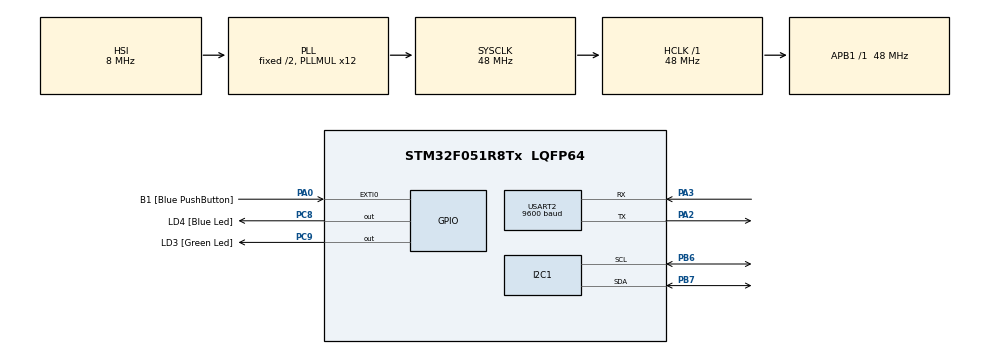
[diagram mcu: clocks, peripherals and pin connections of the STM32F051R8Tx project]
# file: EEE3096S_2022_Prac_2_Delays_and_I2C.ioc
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Dma.Request0=USART2_TX
Dma.USART2_TX.0.Direction=DMA_MEMORY_TO_PERIPH
Dma.USART2_TX.0.Instance=DMA1_Channel4
Dma.USART2_TX.0.MemDataAlignment=DMA_MDATAALIGN_BYTE
Dma.USART2_TX.0.MemInc=DMA_MINC_ENABLE
Dma.USART2_TX.0.Mode=DMA_NORMAL
Dma.USART2_TX.0.PeriphDataAlignment=DMA_PDATAALIGN_BYTE
Dma.USART2_TX.0.PeriphInc=DMA_PINC_DISABLE
Dma.USART2_TX.0.Priority=DMA_PRIORITY_LOW
Mcu.Family=STM32F0
Mcu.Name=STM32F051R8Tx
Mcu.Package=LQFP64
NVIC.DMA1_Channel4_5_IRQn=true\:0\:0\:false\:false\:true\:false\:true\:true
NVIC.USART2_IRQn=true\:0\:0\:false\:false\:true\:true\:true\:true
PA0.GPIO_Label=B1 [Blue PushButton]
PA0.GPIO_ModeDefaultEXTI=GPIO_MODE_EVT_RISING
PA0.Signal=GPXTI0
PA13.GPIO_Label=SWDIO
PA13.Mode=Serial_Wire
PA13.Signal=SYS_SWDIO
PA14.GPIO_Label=SWCLK
PA14.Mode=Serial_Wire
PA14.Signal=SYS_SWCLK
PA2.Mode=Asynchronous
PA2.Signal=USART2_TX
PA3.Mode=Asynchronous
PA3.Signal=USART2_RX
PB6.Mode=I2C
PB6.Signal=I2C1_SCL
PB7.Mode=I2C
PB7.Signal=I2C1_SDA
PC8.GPIO_Label=LD4 [Blue Led]
PC8.Signal=GPIO_Output
PC9.GPIO_Label=LD3 [Green Led]
PC9.Signal=GPIO_Output
PF0-OSC_IN.Mode=HSE-External-Oscillator
PF0-OSC_IN.Signal=RCC_OSC_IN
PF1-OSC_OUT.Mode=HSE-External-Oscillator
PF1-OSC_OUT.Signal=RCC_OSC_OUT
ProjectManager.HeapSize=0x200
ProjectManager.StackSize=0x400
ProjectManager.TargetToolchain=STM32CubeIDE
RCC.AHBFreq_Value=48000000
RCC.APB1Freq_Value=48000000
RCC.APB1TimFreq_Value=48000000
RCC.HCLKFreq_Value=48000000
RCC.PLLMUL=RCC_PLL_MUL12
RCC.SYSCLKFreq_VALUE=48000000
RCC.SYSCLKSource=RCC_SYSCLKSOURCE_PLLCLK
USART2.BaudRate=9600
USART2.VirtualMode-Asynchronous=VM_ASYNC
board=STM32F0DISCOVERY

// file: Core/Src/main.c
/* USER CODE BEGIN Header */
/**
*************************************
Info:		STM32 I2C with DS3231 HAL
Author:		Amaan Vally
*************************************
In this practical you will learn to use I2C on the STM32 using the HAL. Here, we will
be interfacing with a DS3231 RTC. We also create functions to convert the data between Binary
Coded Decimal (BCD) and decimal.

Code is also provided to send data from the STM32 to other devices using UART protocol
by using HAL. You will need Putty or a Python script to read from the serial port on your PC.

UART Connections are as follows: red->5V black->GND white(TX)->PA2 green(RX;unused)->PA3.
Open device manager and go to Ports. Plug in the USB connector with the STM powered on. Check the port number (COMx).
Open up Putty and create a new Serial session on that COMx with baud rate of 9600.

https://www.youtube.com/watch?v=EEsI9MxndbU&list=PLfIJKC1ud8ghc4eFhI84z_3p3Ap2MCMV-&index=4

RTC Connections: (+)->5V (-)->GND D->PB7 (I2C1_SDA) C->PB6 (I2C1_SCL)
  ******************************************************************************
  */
/* USER CODE END Header */
#include "main.h"

/* USER CODE BEGIN Includes */
#include "stdio.h"
#include <stdint.h>
#include <string.h>
/* USER CODE END Includes */

/* USER CODE BEGIN PTD */
typedef struct {
	uint8_t seconds;
	uint8_t minutes;
	uint8_t hour;
	uint8_t dayofweek;
	uint8_t dayofmonth;
	uint8_t month;
	uint8_t year;
} TIME;

/* USER CODE END PTD */

/* USER CODE BEGIN PD */
//TO DO:
//TASK 2
//Give DELAY1 and DELAY2 sensible values
#define DELAY1 502
#define DELAY2 2048

//TO DO:
//TASK 4
//Define the RTC slave address
#define DS3231_ADDRESS 0x0

#define EPOCH_2022 1640988000
/* USER CODE END PD */

I2C_HandleTypeDef hi2c1;

UART_HandleTypeDef huart2;
DMA_HandleTypeDef hdma_usart2_tx;

/* USER CODE BEGIN PV */
char buffer[14];
uint8_t data [] = "Hello from STM32!\r\n";
TIME time;
/* USER CODE END PV */

void SystemClock_Config(void);
static void MX_GPIO_Init(void);
static void MX_I2C1_Init(void);
static void MX_DMA_Init(void);
static void MX_USART2_UART_Init(void);
/* USER CODE BEGIN PFP */
void HAL_UART_TxCpltCllback(UART_HandleTypeDef *huart);
void pause_sec(float x);

uint8_t decToBcd(int val);
int bcdToDec(uint8_t val);
void setTime (uint8_t sec, uint8_t min, uint8_t hour, uint8_t dow, uint8_t dom, uint8_t month, uint8_t year);
void getTime (void);
int epochFromTime(TIME time);

/* USER CODE END PFP */

int main(void)
{

  /* MCU Configuration--------------------------------------------------------*/

  /* Reset of all peripherals, Initializes the Flash interface and the Systick. */
  HAL_Init();

  /* Configure the system clock */
  SystemClock_Config();

  /* Initialize all configured peripherals */
  MX_GPIO_Init();
  MX_I2C1_Init();
  MX_DMA_Init();
  MX_USART2_UART_Init();
  /* USER CODE BEGIN 2 */

  //TO DO
  //TASK 6
  //YOUR CODE HERE
  // store initial time in the RTC to keep it running
  //setTime(00, 11, 6, 6, 24, 9, 22);
  /* USER CODE END 2 */

  /* Infinite loop */
  while (1)
  {
	 //TO DO:
	 //TASK 1
	 //First run this with nothing else in the loop and scope pin PC8 on an oscilloscope
	 pause_sec(1);
	 HAL_GPIO_TogglePin(GPIOC, GPIO_PIN_8);

	 //TO DO:
	 //TASK 6
	 getTime();

	 sprintf(buffer, "%d \r\n", time);
	 //This creates a string "55555555555555" with a pointer called buffer

	 //Transmit data via UART
	 //Blocking! fine for small buffers
	 if (HAL_UART_Transmit(&huart2, buffer, sizeof(buffer), 1000) != HAL_OK)
	    Error_Handler();

	 HAL_Delay(500);

	 //YOUR CODE HERE
	 //sprintf(buffer, "%d \r\n", "Test of Time");
	 int result = epochFromTime(time);
	 //pause_sec(5);
	 sprintf(buffer, "%d \r\n", result);
	 if (HAL_UART_Transmit(&huart2, buffer, sizeof(buffer), 1000) != HAL_OK)
	 	    Error_Handler();
	 HAL_Delay(500);

   }
}

void SystemClock_Config(void)
{
  RCC_OscInitTypeDef RCC_OscInitStruct = {0};
  RCC_ClkInitTypeDef RCC_ClkInitStruct = {0};
  RCC_PeriphCLKInitTypeDef PeriphClkInit = {0};

  /** Initializes the RCC Oscillators according to the specified parameters
  * in the RCC_OscInitTypeDef structure.
  */
  RCC_OscInitStruct.OscillatorType = RCC_OSCILLATORTYPE_HSI;
  RCC_OscInitStruct.HSIState = RCC_HSI_ON;
  RCC_OscInitStruct.HSICalibrationValue = RCC_HSICALIBRATION_DEFAULT;
  RCC_OscInitStruct.PLL.PLLState = RCC_PLL_ON;
  RCC_OscInitStruct.PLL.PLLSource = RCC_PLLSOURCE_HSI;
  RCC_OscInitStruct.PLL.PLLMUL = RCC_PLL_MUL12;
  RCC_OscInitStruct.PLL.PREDIV = RCC_PREDIV_DIV1;
  if (HAL_RCC_OscConfig(&RCC_OscInitStruct) != HAL_OK)
  {
    Error_Handler();
  }

  /** Initializes the CPU, AHB and APB buses clocks
  */
  RCC_ClkInitStruct.ClockType = RCC_CLOCKTYPE_HCLK|RCC_CLOCKTYPE_SYSCLK
                              |RCC_CLOCKTYPE_PCLK1;
  RCC_ClkInitStruct.SYSCLKSource = RCC_SYSCLKSOURCE_PLLCLK;
  RCC_ClkInitStruct.AHBCLKDivider = RCC_SYSCLK_DIV1;
  RCC_ClkInitStruct.APB1CLKDivider = RCC_HCLK_DIV1;

  if (HAL_RCC_ClockConfig(&RCC_ClkInitStruct, FLASH_LATENCY_1) != HAL_OK)
  {
    Error_Handler();
  }
  PeriphClkInit.PeriphClockSelection = RCC_PERIPHCLK_I2C1;
  PeriphClkInit.I2c1ClockSelection = RCC_I2C1CLKSOURCE_HSI;
  if (HAL_RCCEx_PeriphCLKConfig(&PeriphClkInit) != HAL_OK)
  {
    Error_Handler();
  }
}

static void MX_I2C1_Init(void)
{

  hi2c1.Instance = I2C1;
  hi2c1.Init.Timing = 0x2000090E;
  hi2c1.Init.OwnAddress1 = 0;
  hi2c1.Init.AddressingMode = I2C_ADDRESSINGMODE_7BIT;
  hi2c1.Init.DualAddressMode = I2C_DUALADDRESS_DISABLE;
  hi2c1.Init.OwnAddress2 = 0;
  hi2c1.Init.OwnAddress2Masks = I2C_OA2_NOMASK;
  hi2c1.Init.GeneralCallMode = I2C_GENERALCALL_DISABLE;
  hi2c1.Init.NoStretchMode = I2C_NOSTRETCH_DISABLE;
  if (HAL_I2C_Init(&hi2c1) != HAL_OK)
  {
    Error_Handler();
  }

  /** Configure Analogue filter
  */
  if (HAL_I2CEx_ConfigAnalogFilter(&hi2c1, I2C_ANALOGFILTER_ENABLE) != HAL_OK)
  {
    Error_Handler();
  }

  /** Configure Digital filter
  */
  if (HAL_I2CEx_ConfigDigitalFilter(&hi2c1, 0) != HAL_OK)
  {
    Error_Handler();
  }

}

static void MX_USART2_UART_Init(void)
{
  /* USER CODE END USART2_Init 0 */

  huart2.Instance = USART2;
  huart2.Init.BaudRate = 9600;
  huart2.Init.WordLength = UART_WORDLENGTH_8B;
  huart2.Init.StopBits = UART_STOPBITS_1;
  huart2.Init.Parity = UART_PARITY_NONE;
  huart2.Init.Mode = UART_MODE_TX_RX;
  huart2.Init.HwFlowCtl = UART_HWCONTROL_NONE;
  huart2.Init.OverSampling = UART_OVERSAMPLING_16;
  huart2.Init.OneBitSampling = UART_ONE_BIT_SAMPLE_DISABLE;
  huart2.AdvancedInit.AdvFeatureInit = UART_ADVFEATURE_NO_INIT;
  if (HAL_UART_Init(&huart2) != HAL_OK)
  {
    Error_Handler();
  }

}

static void MX_DMA_Init(void)
{

  /* DMA controller clock enable */
  __HAL_RCC_DMA1_CLK_ENABLE();

  /* DMA interrupt init */
  /* DMA1_Channel4_5_IRQn interrupt configuration */
  HAL_NVIC_SetPriority(DMA1_Channel4_5_IRQn, 0, 0);
  HAL_NVIC_EnableIRQ(DMA1_Channel4_5_IRQn);

}

static void MX_GPIO_Init(void)
{
  GPIO_InitTypeDef GPIO_InitStruct = {0};

  /* GPIO Ports Clock Enable */
  __HAL_RCC_GPIOF_CLK_ENABLE();
  __HAL_RCC_GPIOA_CLK_ENABLE();
  __HAL_RCC_GPIOC_CLK_ENABLE();
  __HAL_RCC_GPIOB_CLK_ENABLE();

  /*Configure GPIO pin Output Level */
  HAL_GPIO_WritePin(GPIOC, LD4_Pin|LD3_Pin, GPIO_PIN_RESET);

  /*Configure GPIO pin : B1_Pin */
  GPIO_InitStruct.Pin = B1_Pin;
  GPIO_InitStruct.Mode = GPIO_MODE_EVT_RISING;
  GPIO_InitStruct.Pull = GPIO_NOPULL;
  HAL_GPIO_Init(B1_GPIO_Port, &GPIO_InitStruct);

  /*Configure GPIO pins : LD4_Pin LD3_Pin */
  GPIO_InitStruct.Pin = LD4_Pin|LD3_Pin;
  GPIO_InitStruct.Mode = GPIO_MODE_OUTPUT_PP;
  GPIO_InitStruct.Pull = GPIO_NOPULL;
  GPIO_InitStruct.Speed = GPIO_SPEED_FREQ_LOW;
  HAL_GPIO_Init(GPIOC, &GPIO_InitStruct);

}

/* USER CODE BEGIN 4 */
void pause_sec(float x)
{
	/* Delay program execution for x seconds */
	//TO DO:
	//TASK 2
	//Make sure you've defined DELAY1 and DELAY2 in the private define section
	//__IO int i,j;
	//for (int v=0; v<=x; v++)
	//for (i=0; i<=DELAY2; i++)  // 1 sec
	// for (j=0; j<=DELAY1; j++); // 1 sec
	int timeTaken = (int)x*DELAY1*DELAY2;
	while (timeTaken) {
		timeTaken -= 1;
	}
	//YOUR CODE HERE
}

uint8_t decToBcd(int val)
{
    /* Convert normal decimal numbers to binary coded decimal*/
	//TO DO:
	//TASK 3
	uint8_t bcd = (uint8_t) ( (val/10*16) + (val%10) );

	//YOUR CODE HERE
	return bcd;
}

int bcdToDec(uint8_t val)
{
    /* Convert binary coded decimal to normal decimal numbers */
	//TO DO:
	//TASK 3
	//Complete the BCD to decimal function

	int result = (int) ( (val/16*10) + (val%16) );
	return result;
}

void setTime (uint8_t sec, uint8_t min, uint8_t hour, uint8_t dow, uint8_t dom, uint8_t month, uint8_t year)
{
    /* Write the time to the RTC using I2C */
	//TO DO:
	//TASK 4
	//fill in the address of the RTC, the address of the first register to write and the size of each register
	//The function and RTC supports multi-write. That means we can give the function a buffer and first address
	//and it will write 1 byte of data, increment the register address, write another byte and so on

	uint8_t set_time[7];

	//YOUR CODE HERE
	set_time[0] = decToBcd(sec);
	set_time[1] = decToBcd(min);
	set_time[2] = decToBcd(hour);
	set_time[3] = decToBcd(dow);
	set_time[4] = decToBcd(dom);
	set_time[5] = decToBcd(month);
	set_time[6] = decToBcd(year);

	uint16_t FIRST_REG = 0x00;
	uint16_t REG_SIZE = 1;

	HAL_I2C_Mem_Write(&hi2c1, DS3231_ADDRESS, FIRST_REG, REG_SIZE, set_time, 7, 1000);

}

void getTime (void)
{
    /* Get the time from the RTC using I2C */
	//TO DO:
	//TASK 4
	//Update the global TIME time structure
	//fill in the address of the RTC, the address of the first register to write and the size of each register
	//The function and RTC supports multithread. That means we can give the function a buffer and first address
	//and it will read 1 byte of data, increment the register address, write another byte and so on

	uint8_t get_time[7];

	uint16_t FIRST_REG = 0x00;
	uint16_t REG_SIZE = 1;

	HAL_I2C_Mem_Read(&hi2c1, DS3231_ADDRESS, FIRST_REG, REG_SIZE, get_time, 7, 1000);

	time.seconds = bcdToDec(get_time[0]);
	time.minutes = bcdToDec(get_time[1]);
	time.hour = bcdToDec(get_time[2]);
	time.dayofweek = bcdToDec(get_time[3]);
	time.dayofmonth = bcdToDec(get_time[4]);
	time.month = bcdToDec(get_time[5]);
	time.year = bcdToDec(get_time[6]);

	//YOUR CODE HERE

}

int epochFromTime(TIME time){
    /* Convert time to UNIX epoch time */
	//TO DO:
	//TASK 5
	// You have been given the epoch time for
	// Saturday, January 1, 2022 12:00:00 AM GMT+02:00
	// It is define above as EPOCH_2022.
	// You can work from that and ignore the effects of leap years/seconds

	//YOUR CODE HERE

	int daySeconds = 86400;
	int epochTime = 0;
	int days = 0;

	int monthDays[13] = {0,31,28,31,30,31,30,31,31,30,31,30,31};
	epochTime = epochTime +((time.year - 22)*daySeconds*365);

	for (int i=1; i<13; i++) {
		days += monthDays[i];
	}

	days += (time.dayofmonth - 1);
	epochTime += days*daySeconds;
	epochTime += (time.hour*3600);
	epochTime += (time.minutes*60);
	epochTime += time.seconds;

	int result = EPOCH_2022 + epochTime;

	printf("EPOCH Time for 2022 is => %d", result);

	return result;
}

/* USER CODE END 4 */

void Error_Handler(void)
{
  __disable_irq();
  while (1)
  {
  }
}
